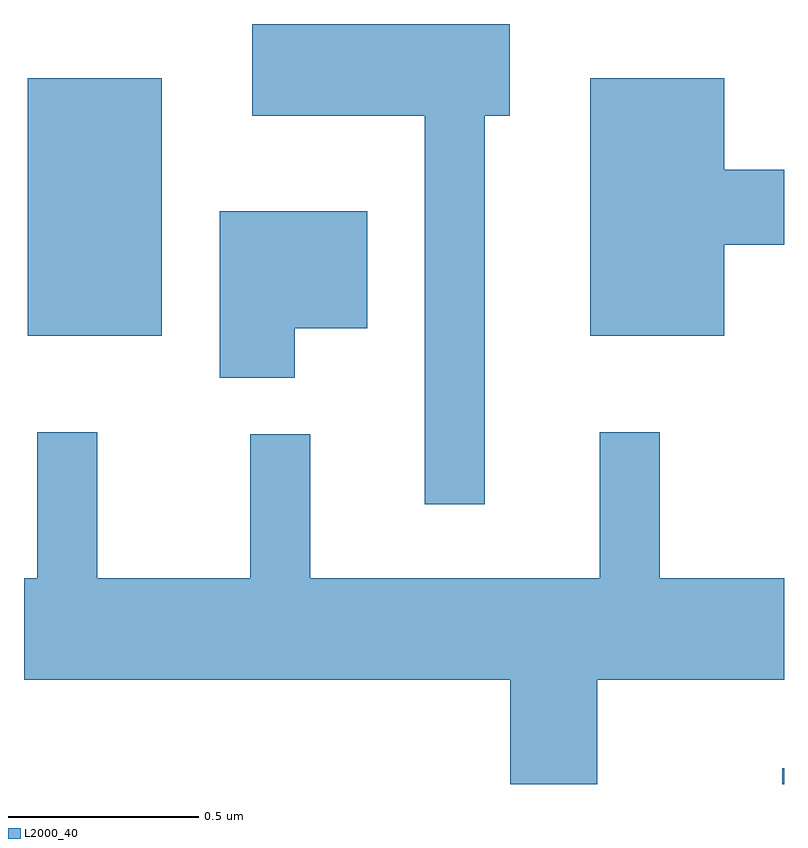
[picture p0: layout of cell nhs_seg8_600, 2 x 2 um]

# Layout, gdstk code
import gdstk
lib = gdstk.Library(unit=1e-6, precision=1e-09)
def R(c, l, rs):  # rectangles x0, y0, x1, y1
    for r in rs: c.add(gdstk.rectangle(r[:2], r[2:], *l))
def P(c, l, *ps):  # polygons
    for p in ps: c.add(gdstk.Polygon(p, *l))
L2000_40 = (2000, 40)

nhs_seg8_600 = lib.new_cell('nhs_seg8_600')
R(nhs_seg8_600, L2000_40, [(191.606,1858.342,191.611,1858.384), (189.621,1859.521,189.974,1860.199)])
P(nhs_seg8_600, L2000_40, [(190.824,1860.101),(190.889,1860.101),(190.889,1860.342),(190.211,1860.342),(190.211,1860.101),(190.666,1860.101),(190.666,1859.078),(190.824,1859.078)],
  [(191.454,1859.761),(191.611,1859.761),(191.611,1859.959),(191.454,1859.959),(191.454,1860.199),(191.101,1860.199),(191.101,1859.521),(191.454,1859.521)],
  [(190.324,1859.541),(190.514,1859.541),(190.514,1859.849),(190.126,1859.849),(190.126,1859.411),(190.324,1859.411)],
  [(191.119,1858.616),(191.611,1858.616),(191.611,1858.884),(191.284,1858.884),(191.284,1859.268),(191.126,1859.268),(191.126,1858.884),(190.364,1858.884),(190.364,1859.263),(190.206,1859.263),(190.206,1858.884),(189.804,1858.884),(189.804,1859.268),(189.646,1859.268),(189.646,1858.884),(189.611,1858.884),(189.611,1858.616),(190.891,1858.616),(190.891,1858.342),(191.119,1858.342)])

lib.write_gds('nhs_seg8_600.gds')
